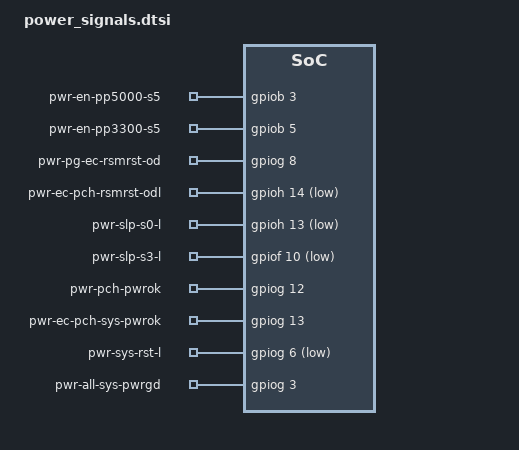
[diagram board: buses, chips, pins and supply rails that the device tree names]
/* Copyright 2025 The ChromiumOS Authors
 * Use of this source code is governed by a BSD-style license that can be
 * found in the LICENSE file.
 */

#include <dt-bindings/gpio_defines.h>
#include <dt-bindings/gpio/realtek-gpio.h>

 / {
    chosen {
        intel-ap-pwrseq,espi = &espi0;
    };

    common-pwrseq {
        compatible = "intel,ap-pwrseq";

        sys-pwrok-delay = <10>;
        all-sys-pwrgd-timeout = <20>;
    };

    pwr-en-pp5000-s5 {
        compatible = "intel,ap-pwrseq-gpio";
        dbg-label = "PP5000_S5 enable output to regulator";
        enum-name = "PWR_EN_PP5000_A";
        gpios = <&gpiob 3 0>;
        output;
    };
	pwr-en-pp3300-s5 {
        compatible = "intel,ap-pwrseq-gpio";
        dbg-label = "PP3300_S5 enable output to LS";
        enum-name = "PWR_EN_PP3300_A";
        gpios = <&gpiob 5 0>;
        output;
	};
    pwr-pg-ec-rsmrst-od {
        compatible = "intel,ap-pwrseq-gpio";
        dbg-label = "RSMRST power good from regulator";
        enum-name = "PWR_RSMRST_PWRGD";
        gpios = <&gpiog 8 0>;
        interrupt-flags = <GPIO_INT_EDGE_BOTH>;
    };
    pwr-ec-pch-rsmrst-odl {
        compatible = "intel,ap-pwrseq-gpio";
        dbg-label = "RSMRST output to PCH";
        enum-name = "PWR_EC_PCH_RSMRST";
        gpios = <&gpioh 14 GPIO_ACTIVE_LOW>;
        reset-val = <1>;
        output;
    };
    pwr-slp-s0-l {
        compatible = "intel,ap-pwrseq-gpio";
        dbg-label = "SLP_S0_L input from PCH";
        enum-name = "PWR_SLP_S0";
        gpios = <&gpioh 13 GPIO_ACTIVE_LOW>;
        interrupt-flags = <GPIO_INT_EDGE_BOTH>;
    };
    pwr-slp-s3-l {
        compatible = "intel,ap-pwrseq-gpio";
        dbg-label = "SLP_S3_L input from PCH";
        enum-name = "PWR_SLP_S3";
        gpios = <&gpiof 10 (GPIO_ACTIVE_LOW | RTS5912_GPIO_VOLTAGE_1V8)>;
        interrupt-flags = <GPIO_INT_EDGE_BOTH>;
    };
    pwr-pch-pwrok {
        compatible = "intel,ap-pwrseq-gpio";
        dbg-label = "PCH_PWROK output to PCH";
        enum-name = "PWR_PCH_PWROK";
        gpios = <&gpiog 12 0>;
        output;
    };
    pwr-ec-pch-sys-pwrok {
        compatible = "intel,ap-pwrseq-gpio";
        dbg-label = "SYS_PWROK output to PCH";
        enum-name = "PWR_EC_PCH_SYS_PWROK";
        gpios = <&gpiog 13 0>;
        output;
    };
    pwr-sys-rst-l {
        compatible = "intel,ap-pwrseq-gpio";
        dbg-label = "SYS_RESET# output to PCH";
        enum-name = "PWR_SYS_RST";
        gpios = <&gpiog 6 (GPIO_ACTIVE_LOW | GPIO_OPEN_DRAIN)>;
        output;
    };
    pwr-all-sys-pwrgd {
        compatible = "intel,ap-pwrseq-gpio";
        dbg-label = "all power good";
        enum-name = "PWR_ALL_SYS_PWRGD";
        gpios = <&gpiog 3 GPIO_ACTIVE_HIGH>;
        interrupt-flags = <GPIO_INT_EDGE_BOTH>;
    };
    pwr-slp-s4 {
        compatible = "intel,ap-pwrseq-vw";
        dbg-label = "SLP_S4 virtual wire input from PCH";
        enum-name = "PWR_SLP_S4";
        virtual-wire = "ESPI_VWIRE_SIGNAL_SLP_S4";
        reset-val = <1>;
        vw-invert;
    };
    pwr-slp-s5 {
        compatible = "intel,ap-pwrseq-vw";
        dbg-label = "SLP_S5 virtual wire input from PCH";
        enum-name = "PWR_SLP_S5";
        virtual-wire = "ESPI_VWIRE_SIGNAL_SLP_S5";
        reset-val = <1>;
        vw-invert;
    };
    ap-power {
        compatible = "ap-pwrseq-sub-states";
        chipset = "AP_POWER_STATE_S0IX";
    };
};

